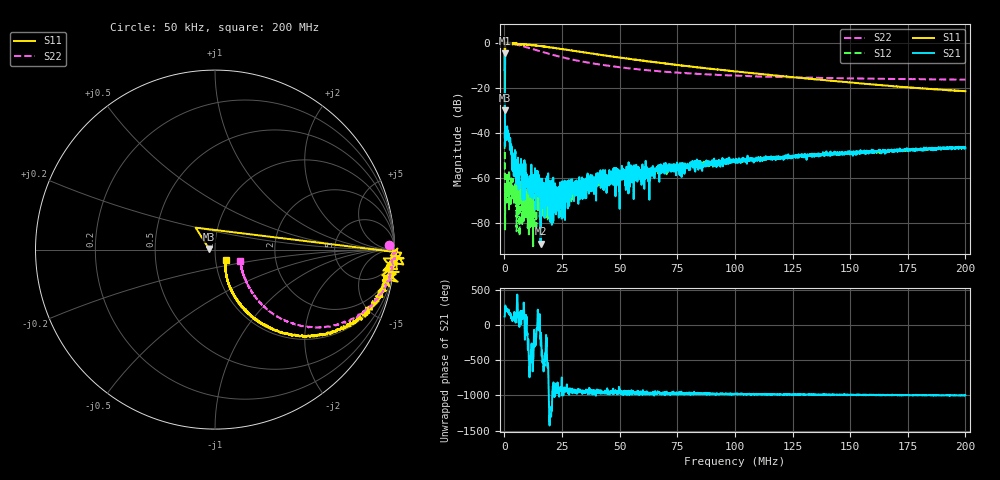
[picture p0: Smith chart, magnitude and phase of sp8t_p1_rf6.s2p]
! 26-Feb-26 11:25:37 AM
! E:\VNA_MEASUREMENTS\SP8T\SP8T_P1_RF6.S2P
! CHANNEL.1
! TR.MEASUREMENT
! CORRECTED.DATA
# GHZ S RI R 50.0
! FREQ.GHZ  S11RE  S11IM  S21RE  S21IM  S12RE  S12IM  S22RE  S22IM
!; PortSelection: Port_12
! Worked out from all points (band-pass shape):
!   2000 points, 50 kHz to 200 MHz, reference 50 ohm
!   highest |S21| = -4.33 dB at 150 kHz (marker M1); lowest = -89.0 dB at 15.65 MHz (marker M2)
!   |S21| within 3 dB of the highest: 110.2 kHz to 157.3 kHz (47.06 kHz wide, 35.2 % of centre)
!   lowest |S11| = -29.7 dB at 150 kHz (marker M3), VSWR 1.07, Z = 46.8 + j0.268 ohm
!   |S11| at or under -10 dB: 86.47 kHz to 285.9 kHz (199.4 kHz wide, 107 % of centre); 78.14753 MHz to 78.46426 MHz (316.7 kHz wide, 0.404 % of centre); 78.48 MHz to end of sweep
!   |S22| runs from -16.1 to 0.1 dB; largest |S21 - S12| = 0.61
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5e-05  -0.4923 -1.053  -0.1247 0.2225  -0.00718 0.00844  0.9671 0.0283
0.000150025  -0.0326 0.00286  -0.3669 0.4838  0.000775 0.00167  1.009 -0.0119
0.001150275  1.051 -0.0485  -0.00994 -0.0104  0.00049 0.000216  0.9831 -0.0602
0.001350325  0.9559 -0.0697  -0.0103 -0.00291  0.000193 -0.000368  0.9922 -0.0894
0.005451351  0.9546 -0.1641  0.000995 0.000372  0.000113 -0.000524  0.8828 -0.297
0.007151776  0.9167 -0.2289  0.00124 0.00241  -8.65e-05 -0.000246  0.8076 -0.3604
0.007651901  0.9253 -0.2402  -0.000373 -0.000123  3.74e-05 -8.91e-05  0.7942 -0.3722
0.0104526  0.8816 -0.2914  0.000461 -5.31e-05  -0.000409 0.000164  0.6756 -0.4202
0.012053  0.8473 -0.3646  0.000174 -0.000309  0.000233 -2.09e-05  0.6178 -0.4293
0.01355338  0.8037 -0.3652  6.1e-05 0.000192  7.64e-05 0.000215  0.5664 -0.4343
0.0156539  0.7751 -0.4032  -3.02e-05 -1.86e-05  -0.000131 5.3e-06  0.5064 -0.4308
0.0228557  0.6135 -0.4724  -0.000463 0.000333  -0.000255 8.36e-05  0.3604 -0.3801
0.03345835  0.4362 -0.4744  -0.000248 0.000509  -0.000472 0.000447  0.2583 -0.303
0.04676168  0.2839 -0.4231  -0.000186 0.00076  -0.000504 0.000799  0.2022 -0.234
0.04896223  0.2675 -0.4142  -0.000831 0.000824  -0.000538 0.000879  0.1978 -0.2245
0.05106276  0.2532 -0.4084  -0.000764 0.00114  -0.000592 0.00118  0.1932 -0.217
0.06296573  0.1842 -0.3528  -0.000504 0.000959  -0.000408 0.00131  0.1751 -0.1803
0.06676668  0.1664 -0.3368  -0.000884 0.00176  -0.000742 0.0013  0.1711 -0.1705
0.100075  0.0885 -0.2221  -0.000483 0.00242  -0.000316 0.00233  0.1513 -0.1186
0.1333833  0.064 -0.1478  -0.000162 0.00305  -0.000251 0.00356  0.1458 -0.0923
0.1666917  0.0589 -0.0974  0.000185 0.00384  0.000479 0.00396  0.1434 -0.0774
0.2  0.0628 -0.0592  0.000588 0.00461  0.000896 0.0049  0.1416 -0.0663
